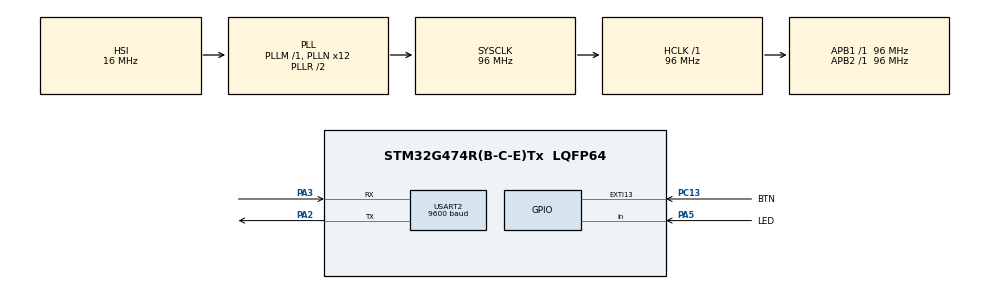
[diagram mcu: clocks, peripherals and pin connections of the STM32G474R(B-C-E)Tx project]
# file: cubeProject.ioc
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Mcu.Family=STM32G4
Mcu.Name=STM32G474R(B-C-E)Tx
Mcu.Package=LQFP64
NVIC.EXTI15_10_IRQn=true\:0\:0\:false\:false\:true\:true\:true\:true
NVIC.PriorityGroup=NVIC_PRIORITYGROUP_4
PA2.Mode=Asynchronous
PA2.Signal=USART2_TX
PA3.Mode=Asynchronous
PA3.Signal=USART2_RX
PA5.GPIO_Label=LED
PA5.GPIO_PuPd=GPIO_PULLDOWN
PA5.Signal=GPIO_Input
PC13.GPIO_Label=BTN
PC13.Signal=GPXTI13
PF0-OSC_IN.Mode=HSE-External-Oscillator
PF0-OSC_IN.Signal=RCC_OSC_IN
PF1-OSC_OUT.Mode=HSE-External-Oscillator
PF1-OSC_OUT.Signal=RCC_OSC_OUT
ProjectManager.HeapSize=0x200
ProjectManager.StackSize=0x400
ProjectManager.TargetToolchain=CMake
RCC.ADC12Freq_Value=96000000
RCC.ADC345Freq_Value=96000000
RCC.AHBFreq_Value=96000000
RCC.APB1Freq_Value=96000000
RCC.APB1TimFreq_Value=96000000
RCC.APB2Freq_Value=96000000
RCC.APB2TimFreq_Value=96000000
RCC.CortexFreq_Value=96000000
RCC.EXTERNAL_CLOCK_VALUE=12288000
RCC.HCLKFreq_Value=96000000
RCC.HSE_VALUE=16000000
RCC.HSI48_VALUE=48000000
RCC.HSI_VALUE=16000000
RCC.LSE_VALUE=32768
RCC.PLLN=12
RCC.PLLQ=RCC_PLLQ_DIV4
RCC.SYSCLKFreq_VALUE=96000000
RCC.SYSCLKSource=RCC_SYSCLKSOURCE_PLLCLK
RCC.USBFreq_Value=48000000
RCC.VCOOutputFreq_Value=192000000
USART2.BaudRate=9600
USART2.VirtualMode-Asynchronous=VM_ASYNC
VP_SYS_VS_DBSignals.Mode=DisableDeadBatterySignals
board=custom

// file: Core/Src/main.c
/* USER CODE BEGIN Header */
/**
  ******************************************************************************
  * @file           : main.c
  * @brief          : Main program body
  ******************************************************************************
  * @attention
  *
  * Copyright (c) 2026 STMicroelectronics.
  * All rights reserved.
  *
  * This software is licensed under terms that can be found in the LICENSE file
  * in the root directory of this software component.
  * If no LICENSE file comes with this software, it is provided AS-IS.
  *
  ******************************************************************************
  */
/* USER CODE END Header */
#include "main.h"
#include "usart.h"
#include "gpio.h"

/* USER CODE BEGIN Includes */
#include <stdio.h>
/* USER CODE END Includes */

/* USER CODE BEGIN PV */
uint8_t btnPressed = 0;
/* USER CODE END PV */

void SystemClock_Config(void);

/* USER CODE BEGIN 0 */
int _write(int fd, char* ptr, int len){
  HAL_StatusTypeDef halStatus;
  if(fd==1 || fd==2){
    halStatus = HAL_UART_Transmit(&huart2, (uint8_t *)ptr, len, 1000);
    if(halStatus == HAL_OK){
      return len;
    }
  }
  return -1;
}
void HAL_GPIO_EXTI_Callback(uint16_t GPIO_Pin)
{
  if(GPIO_Pin == BTN_Pin){
    btnPressed = 1;
  }
}

/* USER CODE END 0 */

int main(void)
{

  /* MCU Configuration--------------------------------------------------------*/

  /* Reset of all peripherals, Initializes the Flash interface and the Systick. */
  HAL_Init();

  /* Configure the system clock */
  SystemClock_Config();

  /* Initialize all configured peripherals */
  MX_GPIO_Init();
  MX_USART2_UART_Init();

  /* Infinite loop */
  /* USER CODE BEGIN WHILE */
  uint32_t now = 0, lastBlink = 0, lastTick = 0, loopCnt = 0, blinkDelay = 500;
  while (1)
  {
    now = HAL_GetTick();
    if(now - lastBlink >= blinkDelay) {
      printf("Toggling GPIO...\n");
      HAL_GPIO_TogglePin(LED_GPIO_Port, GPIO_PIN_5);
      lastBlink = now;
    }
    if(now - lastTick >= 1000) {
      printf("Tick %lu (loopCnt = %lu)\n", now/1000, loopCnt);
      loopCnt = 0;
      lastTick = now;
    }
    if(btnPressed == 1) {
      printf("Button has been pressed...\n");\
      blinkDelay -= 50;
      btnPressed = 0;
    }
    ++loopCnt;
    /* USER CODE END WHILE */

  }
}

void SystemClock_Config(void)
{
  RCC_OscInitTypeDef RCC_OscInitStruct = {0};
  RCC_ClkInitTypeDef RCC_ClkInitStruct = {0};

  /** Configure the main internal regulator output voltage
  */
  HAL_PWREx_ControlVoltageScaling(PWR_REGULATOR_VOLTAGE_SCALE1);

  /** Initializes the RCC Oscillators according to the specified parameters
  * in the RCC_OscInitTypeDef structure.
  */
  RCC_OscInitStruct.OscillatorType = RCC_OSCILLATORTYPE_HSI;
  RCC_OscInitStruct.HSIState = RCC_HSI_ON;
  RCC_OscInitStruct.HSICalibrationValue = RCC_HSICALIBRATION_DEFAULT;
  RCC_OscInitStruct.PLL.PLLState = RCC_PLL_ON;
  RCC_OscInitStruct.PLL.PLLSource = RCC_PLLSOURCE_HSI;
  RCC_OscInitStruct.PLL.PLLM = RCC_PLLM_DIV1;
  RCC_OscInitStruct.PLL.PLLN = 12;
  RCC_OscInitStruct.PLL.PLLP = RCC_PLLP_DIV2;
  RCC_OscInitStruct.PLL.PLLQ = RCC_PLLQ_DIV4;
  RCC_OscInitStruct.PLL.PLLR = RCC_PLLR_DIV2;
  if (HAL_RCC_OscConfig(&RCC_OscInitStruct) != HAL_OK)
  {
    Error_Handler();
  }

  /** Initializes the CPU, AHB and APB buses clocks
  */
  RCC_ClkInitStruct.ClockType = RCC_CLOCKTYPE_HCLK|RCC_CLOCKTYPE_SYSCLK
                              |RCC_CLOCKTYPE_PCLK1|RCC_CLOCKTYPE_PCLK2;
  RCC_ClkInitStruct.SYSCLKSource = RCC_SYSCLKSOURCE_PLLCLK;
  RCC_ClkInitStruct.AHBCLKDivider = RCC_SYSCLK_DIV1;
  RCC_ClkInitStruct.APB1CLKDivider = RCC_HCLK_DIV1;
  RCC_ClkInitStruct.APB2CLKDivider = RCC_HCLK_DIV1;

  if (HAL_RCC_ClockConfig(&RCC_ClkInitStruct, FLASH_LATENCY_3) != HAL_OK)
  {
    Error_Handler();
  }
}

void Error_Handler(void)
{
  __disable_irq();
  while (1)
  {
  }
}
